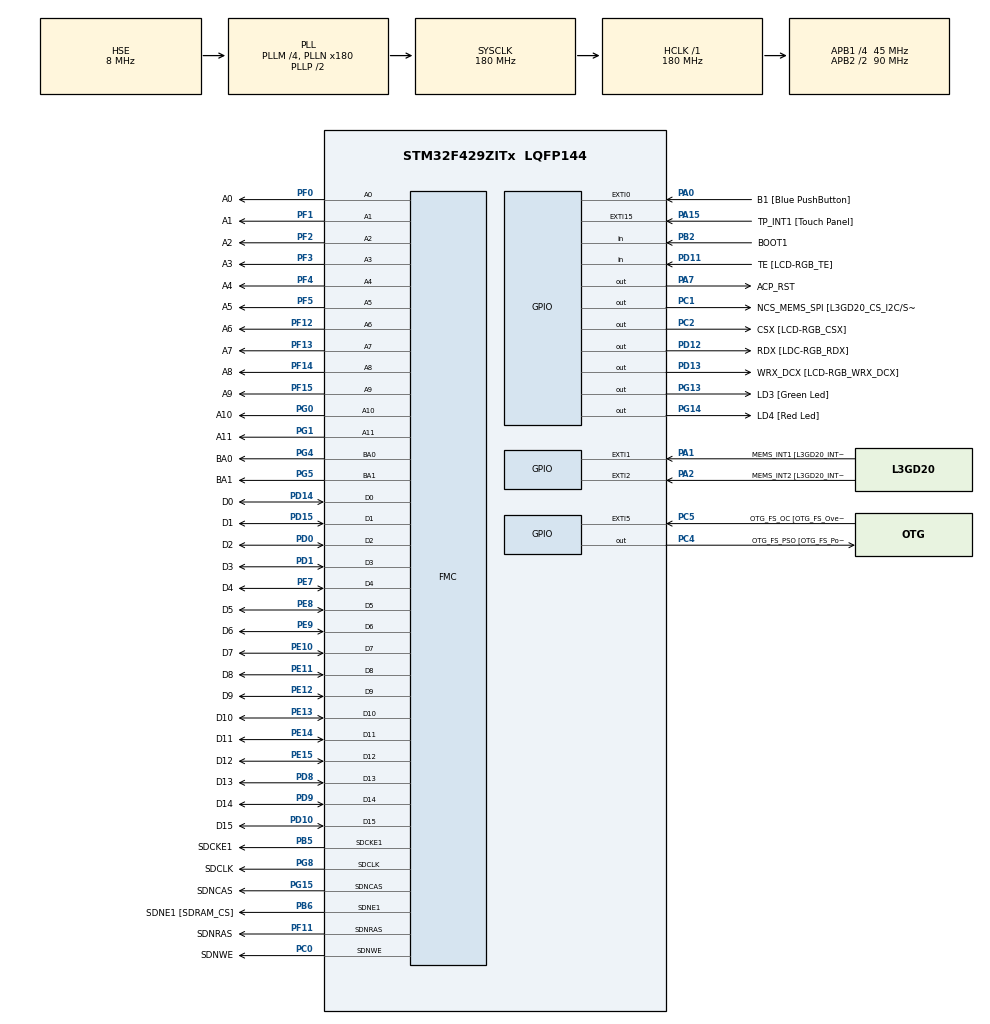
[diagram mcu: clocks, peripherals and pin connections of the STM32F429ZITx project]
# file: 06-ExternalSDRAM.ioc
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FMC.CASLatency1=FMC_SDRAM_CAS_LATENCY_3
FMC.ExitSelfRefreshDelay1=7
FMC.LoadToActiveDelay1=2
FMC.RCDDelay1=2
FMC.RPDelay1=2
FMC.RPDelay2=2
FMC.ReadBurst1=FMC_SDRAM_RBURST_ENABLE
FMC.ReadBurst2=FMC_SDRAM_RBURST_ENABLE
FMC.RowCycleDelay1=7
FMC.RowCycleDelay2=7
FMC.SDClockPeriod1=FMC_SDRAM_CLOCK_PERIOD_3
FMC.SDClockPeriod2=FMC_SDRAM_CLOCK_PERIOD_3
FMC.SelfRefreshTime1=4
FMC.WriteRecoveryTime1=3
Mcu.Family=STM32F4
Mcu.Name=STM32F429ZITx
Mcu.Package=LQFP144
NVIC.PriorityGroup=NVIC_PRIORITYGROUP_0
PA0/WKUP.GPIO_Label=B1 [Blue PushButton]
PA0/WKUP.GPIO_ModeDefaultEXTI=GPIO_MODE_EVT_RISING
PA0/WKUP.GPIO_PuPd=GPIO_NOPULL
PA0/WKUP.Signal=GPXTI0
PA1.GPIO_Label=MEMS_INT1 [L3GD20_INT1]
PA1.GPIO_ModeDefaultEXTI=GPIO_MODE_EVT_RISING
PA1.GPIO_PuPd=GPIO_NOPULL
PA1.Signal=GPXTI1
PA10.GPIO_Label=STLINK_TX [STM32F103CBT6_PA2]
PA10.Signal=USART1_RX
PA11.GPIO_Label=R4
PA11.GPIO_Mode=GPIO_MODE_AF_PP
PA11.GPIO_PuPd=GPIO_NOPULL
PA11.GPIO_Speed=GPIO_SPEED_FREQ_LOW
PA11.Signal=LTDC_R4
PA12.GPIO_Label=R5
PA12.GPIO_Mode=GPIO_MODE_AF_PP
PA12.GPIO_PuPd=GPIO_NOPULL
PA12.GPIO_Speed=GPIO_SPEED_FREQ_LOW
PA12.Signal=LTDC_R5
PA13.GPIO_Label=SWDIO
PA13.Mode=Serial_Wire
PA13.Signal=SYS_JTMS-SWDIO
PA14.GPIO_Label=SWCLK
PA14.Mode=Serial_Wire
PA14.Signal=SYS_JTCK-SWCLK
PA15.GPIO_Label=TP_INT1 [Touch Panel]
PA15.GPIO_ModeDefaultEXTI=GPIO_MODE_EVT_RISING
PA15.GPIO_PuPd=GPIO_NOPULL
PA15.Signal=GPXTI15
PA2.GPIO_Label=MEMS_INT2 [L3GD20_INT2]
PA2.GPIO_ModeDefaultEXTI=GPIO_MODE_EVT_RISING
PA2.GPIO_PuPd=GPIO_NOPULL
PA2.Signal=GPXTI2
PA3.GPIO_Label=B5
PA3.GPIO_Mode=GPIO_MODE_AF_PP
PA3.GPIO_PuPd=GPIO_NOPULL
PA3.GPIO_Speed=GPIO_SPEED_FREQ_LOW
PA3.Signal=LTDC_B5
PA4.GPIO_Label=VSYNC
PA4.GPIO_Mode=GPIO_MODE_AF_PP
PA4.GPIO_PuPd=GPIO_NOPULL
PA4.GPIO_Speed=GPIO_SPEED_FREQ_LOW
PA4.Signal=LTDC_VSYNC
PA6.GPIO_Label=G2
PA6.GPIO_Mode=GPIO_MODE_AF_PP
PA6.GPIO_PuPd=GPIO_NOPULL
PA6.GPIO_Speed=GPIO_SPEED_FREQ_LOW
PA6.Signal=LTDC_G2
PA7.GPIO_Label=ACP_RST
PA7.GPIO_Mode=GPIO_MODE_OUTPUT_PP
PA7.GPIO_PuPd=GPIO_NOPULL
PA7.GPIO_Speed=GPIO_SPEED_FREQ_LOW
PA7.Signal=GPIO_Output
PA8.GPIO_Label=I2C3_SCL [ACP/RF_SCL]
PA8.GPIO_Mode=GPIO_MODE_AF_OD
PA8.GPIO_PuPd=GPIO_NOPULL
PA8.GPIO_Speed=GPIO_SPEED_FREQ_LOW
PA8.Signal=I2C3_SCL
PA9.GPIO_Label=STLINK_RX [STM32F103CBT6_PA3]
PA9.Signal=USART1_TX
PB0.GPIO_Label=R3
PB0.GPIO_Mode=GPIO_MODE_AF_PP
PB0.GPIO_PuPd=GPIO_NOPULL
PB0.GPIO_Speed=GPIO_SPEED_FREQ_LOW
PB0.Signal=LTDC_R3
PB1.GPIO_Label=R6
PB1.GPIO_Mode=GPIO_MODE_AF_PP
PB1.GPIO_PuPd=GPIO_NOPULL
PB1.GPIO_Speed=GPIO_SPEED_FREQ_LOW
PB1.Signal=LTDC_R6
PB10.GPIO_Label=G4
PB10.GPIO_Mode=GPIO_MODE_AF_PP
PB10.GPIO_PuPd=GPIO_NOPULL
PB10.GPIO_Speed=GPIO_SPEED_FREQ_LOW
PB10.Signal=LTDC_G4
PB11.GPIO_Label=G5
PB11.GPIO_Mode=GPIO_MODE_AF_PP
PB11.GPIO_PuPd=GPIO_NOPULL
PB11.GPIO_Speed=GPIO_SPEED_FREQ_LOW
PB11.Signal=LTDC_G5
PB12.GPIO_Label=OTG_HS_ID
PB12.GPIO_Mode=GPIO_MODE_AF_PP
PB12.GPIO_PuPd=GPIO_NOPULL
PB12.GPIO_Speed=GPIO_SPEED_FREQ_LOW
PB12.Signal=USB_OTG_HS_ID
PB13.GPIO_Label=VBUS_HS
PB13.GPIO_Mode=GPIO_MODE_INPUT
PB13.GPIO_PuPd=GPIO_NOPULL
PB13.Signal=USB_OTG_HS_VBUS
PB14.GPIO_Label=OTG_HS_DM
PB14.GPIO_Mode=GPIO_MODE_AF_PP
PB14.GPIO_PuPd=GPIO_NOPULL
PB14.GPIO_Speed=GPIO_SPEED_FREQ_LOW
PB14.Signal=USB_OTG_HS_DM
PB15.GPIO_Label=OTG_HS_DP
PB15.GPIO_Mode=GPIO_MODE_AF_PP
PB15.GPIO_PuPd=GPIO_NOPULL
PB15.GPIO_Speed=GPIO_SPEED_FREQ_LOW
PB15.Signal=USB_OTG_HS_DP
PB2/BOOT1.GPIO_Label=BOOT1
PB2/BOOT1.GPIO_Mode=GPIO_MODE_INPUT
PB2/BOOT1.GPIO_PuPd=GPIO_NOPULL
PB2/BOOT1.Signal=GPIO_Input
PB5.GPIO_Label=SDCKE1
PB5.GPIO_Mode=GPIO_MODE_AF_PP
PB5.GPIO_PuPd=GPIO_NOPULL
PB5.GPIO_Speed=GPIO_SPEED_FREQ_VERY_HIGH
PB5.Mode=SdramChipSelect2_1
PB5.Signal=FMC_SDCKE1
PB6.GPIO_Label=SDNE1 [SDRAM_CS]
PB6.GPIO_Mode=GPIO_MODE_AF_PP
PB6.GPIO_PuPd=GPIO_NOPULL
PB6.GPIO_Speed=GPIO_SPEED_FREQ_VERY_HIGH
PB6.Mode=SdramChipSelect2_1
PB6.Signal=FMC_SDNE1
PB8.GPIO_Label=B6
PB8.GPIO_Mode=GPIO_MODE_AF_PP
PB8.GPIO_PuPd=GPIO_NOPULL
PB8.GPIO_Speed=GPIO_SPEED_FREQ_LOW
PB8.Signal=LTDC_B6
PB9.GPIO_Label=B7
PB9.GPIO_Mode=GPIO_MODE_AF_PP
PB9.GPIO_PuPd=GPIO_NOPULL
PB9.GPIO_Speed=GPIO_SPEED_FREQ_LOW
PB9.Signal=LTDC_B7
PC0.GPIO_Label=SDNWE
PC0.GPIO_Mode=GPIO_MODE_AF_PP
PC0.GPIO_PuPd=GPIO_NOPULL
PC0.GPIO_Speed=GPIO_SPEED_FREQ_VERY_HIGH
PC0.Signal=FMC_SDNWE
PC1.GPIO_Label=NCS_MEMS_SPI [L3GD20_CS_I2C/SPI]
PC1.GPIO_Mode=GPIO_MODE_OUTPUT_PP
PC1.GPIO_PuPd=GPIO_NOPULL
PC1.GPIO_Speed=GPIO_SPEED_FREQ_LOW
PC1.Signal=GPIO_Output
PC10.GPIO_Label=R2
PC10.GPIO_Mode=GPIO_MODE_AF_PP
PC10.GPIO_PuPd=GPIO_NOPULL
PC10.GPIO_Speed=GPIO_SPEED_FREQ_LOW
PC10.Signal=LTDC_R2
PC14/OSC32_IN.GPIO_Label=PC14-OSC32_IN
PC14/OSC32_IN.Signal=RCC_OSC32_IN
PC15/OSC32_OUT.GPIO_Label=PC15-OSC32_OUT
PC15/OSC32_OUT.Signal=RCC_OSC32_OUT
PC2.GPIO_Label=CSX [LCD-RGB_CSX]
PC2.GPIO_Mode=GPIO_MODE_OUTPUT_PP
PC2.GPIO_PuPd=GPIO_NOPULL
PC2.GPIO_Speed=GPIO_SPEED_FREQ_LOW
PC2.Signal=GPIO_Output
PC4.GPIO_Label=OTG_FS_PSO [OTG_FS_PowerSwitchOn]
PC4.GPIO_Mode=GPIO_MODE_OUTPUT_PP
PC4.GPIO_PuPd=GPIO_NOPULL
PC4.GPIO_Speed=GPIO_SPEED_FREQ_LOW
PC4.Signal=GPIO_Output
PC5.GPIO_Label=OTG_FS_OC [OTG_FS_OverCurrent]
PC5.GPIO_ModeDefaultEXTI=GPIO_MODE_EVT_RISING
PC5.Signal=GPXTI5
PC6.GPIO_Label=HSYNC
PC6.GPIO_Mode=GPIO_MODE_AF_PP
PC6.GPIO_PuPd=GPIO_NOPULL
PC6.GPIO_Speed=GPIO_SPEED_FREQ_LOW
PC6.Signal=LTDC_HSYNC
PC7.GPIO_Label=G6
PC7.GPIO_Mode=GPIO_MODE_AF_PP
PC7.GPIO_PuPd=GPIO_NOPULL
PC7.GPIO_Speed=GPIO_SPEED_FREQ_LOW
PC7.Signal=LTDC_G6
PC9.GPIO_Label=I2C3_SDA [ACP/RF_SDA]
PC9.GPIO_Mode=GPIO_MODE_AF_OD
PC9.GPIO_PuPd=GPIO_NOPULL
PC9.GPIO_Speed=GPIO_SPEED_FREQ_LOW
PC9.Signal=I2C3_SDA
PD0.GPIO_Label=D2
PD0.GPIO_Mode=GPIO_MODE_AF_PP
PD0.GPIO_PuPd=GPIO_NOPULL
PD0.GPIO_Speed=GPIO_SPEED_FREQ_VERY_HIGH
PD0.Signal=FMC_D2_DA2
PD1.GPIO_Label=D3
PD1.GPIO_Mode=GPIO_MODE_AF_PP
PD1.GPIO_PuPd=GPIO_NOPULL
PD1.GPIO_Speed=GPIO_SPEED_FREQ_VERY_HIGH
PD1.Signal=FMC_D3_DA3
PD10.GPIO_Label=D15
PD10.GPIO_Mode=GPIO_MODE_AF_PP
PD10.GPIO_PuPd=GPIO_NOPULL
PD10.GPIO_Speed=GPIO_SPEED_FREQ_VERY_HIGH
PD10.Signal=FMC_D15_DA15
PD11.GPIO_Label=TE [LCD-RGB_TE]
PD11.GPIO_Mode=GPIO_MODE_INPUT
PD11.GPIO_PuPd=GPIO_NOPULL
PD11.Signal=GPIO_Input
PD12.GPIO_Label=RDX [LDC-RGB_RDX]
PD12.GPIO_Mode=GPIO_MODE_OUTPUT_PP
PD12.GPIO_PuPd=GPIO_NOPULL
PD12.GPIO_Speed=GPIO_SPEED_FREQ_LOW
PD12.Signal=GPIO_Output
PD13.GPIO_Label=WRX_DCX [LCD-RGB_WRX_DCX]
PD13.GPIO_Mode=GPIO_MODE_OUTPUT_PP
PD13.GPIO_PuPd=GPIO_NOPULL
PD13.GPIO_Speed=GPIO_SPEED_FREQ_LOW
PD13.Signal=GPIO_Output
PD14.GPIO_Label=D0
PD14.GPIO_Mode=GPIO_MODE_AF_PP
PD14.GPIO_PuPd=GPIO_NOPULL
PD14.GPIO_Speed=GPIO_SPEED_FREQ_VERY_HIGH
PD14.Signal=FMC_D0_DA0
PD15.GPIO_Label=D1
PD15.GPIO_Mode=GPIO_MODE_AF_PP
PD15.GPIO_PuPd=GPIO_NOPULL
PD15.GPIO_Speed=GPIO_SPEED_FREQ_VERY_HIGH
PD15.Signal=FMC_D1_DA1
PD3.GPIO_Label=G7
PD3.GPIO_Mode=GPIO_MODE_AF_PP
PD3.GPIO_PuPd=GPIO_NOPULL
PD3.GPIO_Speed=GPIO_SPEED_FREQ_LOW
PD3.Signal=LTDC_G7
PD6.GPIO_Label=B2
PD6.GPIO_Mode=GPIO_MODE_AF_PP
PD6.GPIO_PuPd=GPIO_NOPULL
PD6.GPIO_Speed=GPIO_SPEED_FREQ_LOW
PD6.Signal=LTDC_B2
PD8.GPIO_Label=D13
PD8.GPIO_Mode=GPIO_MODE_AF_PP
PD8.GPIO_PuPd=GPIO_NOPULL
PD8.GPIO_Speed=GPIO_SPEED_FREQ_VERY_HIGH
PD8.Signal=FMC_D13_DA13
PD9.GPIO_Label=D14
PD9.GPIO_Mode=GPIO_MODE_AF_PP
PD9.GPIO_PuPd=GPIO_NOPULL
PD9.GPIO_Speed=GPIO_SPEED_FREQ_VERY_HIGH
PD9.Signal=FMC_D14_DA14
PE0.GPIO_Label=NBL0 [SDRAM_LDQM]
PE0.GPIO_Mode=GPIO_MODE_AF_PP
PE0.GPIO_PuPd=GPIO_NOPULL
PE0.GPIO_Speed=GPIO_SPEED_FREQ_VERY_HIGH
PE0.Signal=FMC_NBL0
PE1.GPIO_Label=NBL1 [SDRAM_UDQM]
PE1.GPIO_Mode=GPIO_MODE_AF_PP
PE1.GPIO_PuPd=GPIO_NOPULL
PE1.GPIO_Speed=GPIO_SPEED_FREQ_VERY_HIGH
PE1.Signal=FMC_NBL1
PE10.GPIO_Label=D7
PE10.GPIO_Mode=GPIO_MODE_AF_PP
PE10.GPIO_PuPd=GPIO_NOPULL
PE10.GPIO_Speed=GPIO_SPEED_FREQ_VERY_HIGH
PE10.Signal=FMC_D7_DA7
PE11.GPIO_Label=D8
PE11.GPIO_Mode=GPIO_MODE_AF_PP
PE11.GPIO_PuPd=GPIO_NOPULL
PE11.GPIO_Speed=GPIO_SPEED_FREQ_VERY_HIGH
PE11.Signal=FMC_D8_DA8
PE12.GPIO_Label=D9
PE12.GPIO_Mode=GPIO_MODE_AF_PP
PE12.GPIO_PuPd=GPIO_NOPULL
PE12.GPIO_Speed=GPIO_SPEED_FREQ_VERY_HIGH
PE12.Signal=FMC_D9_DA9
PE13.GPIO_Label=D10
PE13.GPIO_Mode=GPIO_MODE_AF_PP
PE13.GPIO_PuPd=GPIO_NOPULL
PE13.GPIO_Speed=GPIO_SPEED_FREQ_VERY_HIGH
PE13.Signal=FMC_D10_DA10
PE14.GPIO_Label=D11
PE14.GPIO_Mode=GPIO_MODE_AF_PP
PE14.GPIO_PuPd=GPIO_NOPULL
PE14.GPIO_Speed=GPIO_SPEED_FREQ_VERY_HIGH
PE14.Signal=FMC_D11_DA11
PE15.GPIO_Label=D12
PE15.GPIO_Mode=GPIO_MODE_AF_PP
PE15.GPIO_PuPd=GPIO_NOPULL
PE15.GPIO_Speed=GPIO_SPEED_FREQ_VERY_HIGH
PE15.Signal=FMC_D12_DA12
PE7.GPIO_Label=D4
PE7.GPIO_Mode=GPIO_MODE_AF_PP
PE7.GPIO_PuPd=GPIO_NOPULL
PE7.GPIO_Speed=GPIO_SPEED_FREQ_VERY_HIGH
PE7.Signal=FMC_D4_DA4
PE8.GPIO_Label=D5
PE8.GPIO_Mode=GPIO_MODE_AF_PP
PE8.GPIO_PuPd=GPIO_NOPULL
PE8.GPIO_Speed=GPIO_SPEED_FREQ_VERY_HIGH
PE8.Signal=FMC_D5_DA5
PE9.GPIO_Label=D6
PE9.GPIO_Mode=GPIO_MODE_AF_PP
PE9.GPIO_PuPd=GPIO_NOPULL
PE9.GPIO_Speed=GPIO_SPEED_FREQ_VERY_HIGH
PE9.Signal=FMC_D6_DA6
PF0.GPIO_Label=A0
PF0.GPIO_Mode=GPIO_MODE_AF_PP
PF0.GPIO_PuPd=GPIO_NOPULL
PF0.GPIO_Speed=GPIO_SPEED_FREQ_VERY_HIGH
PF0.Signal=FMC_A0
PF1.GPIO_Label=A1
PF1.GPIO_Mode=GPIO_MODE_AF_PP
PF1.GPIO_PuPd=GPIO_NOPULL
PF1.GPIO_Speed=GPIO_SPEED_FREQ_VERY_HIGH
PF1.Signal=FMC_A1
PF10.GPIO_Label=ENABLE [LCD-RGB_ENABLE]
PF10.GPIO_Mode=GPIO_MODE_AF_PP
PF10.GPIO_PuPd=GPIO_NOPULL
PF10.GPIO_Speed=GPIO_SPEED_FREQ_LOW
PF10.Signal=LTDC_DE
PF11.GPIO_Label=SDNRAS
PF11.GPIO_Mode=GPIO_MODE_AF_PP
PF11.GPIO_PuPd=GPIO_NOPULL
PF11.GPIO_Speed=GPIO_SPEED_FREQ_VERY_HIGH
PF11.Signal=FMC_SDNRAS
PF12.GPIO_Label=A6
PF12.GPIO_Mode=GPIO_MODE_AF_PP
PF12.GPIO_PuPd=GPIO_NOPULL
PF12.GPIO_Speed=GPIO_SPEED_FREQ_VERY_HIGH
PF12.Signal=FMC_A6
PF13.GPIO_Label=A7
PF13.GPIO_Mode=GPIO_MODE_AF_PP
PF13.GPIO_PuPd=GPIO_NOPULL
PF13.GPIO_Speed=GPIO_SPEED_FREQ_VERY_HIGH
PF13.Signal=FMC_A7
PF14.GPIO_Label=A8
PF14.GPIO_Mode=GPIO_MODE_AF_PP
PF14.GPIO_PuPd=GPIO_NOPULL
PF14.GPIO_Speed=GPIO_SPEED_FREQ_VERY_HIGH
PF14.Signal=FMC_A8
PF15.GPIO_Label=A9
PF15.GPIO_Mode=GPIO_MODE_AF_PP
PF15.GPIO_PuPd=GPIO_NOPULL
PF15.GPIO_Speed=GPIO_SPEED_FREQ_VERY_HIGH
PF15.Signal=FMC_A9
PF2.GPIO_Label=A2
PF2.GPIO_Mode=GPIO_MODE_AF_PP
PF2.GPIO_PuPd=GPIO_NOPULL
PF2.GPIO_Speed=GPIO_SPEED_FREQ_VERY_HIGH
PF2.Signal=FMC_A2
PF3.GPIO_Label=A3
PF3.GPIO_Mode=GPIO_MODE_AF_PP
PF3.GPIO_PuPd=GPIO_NOPULL
PF3.GPIO_Speed=GPIO_SPEED_FREQ_VERY_HIGH
PF3.Signal=FMC_A3
PF4.GPIO_Label=A4
PF4.GPIO_Mode=GPIO_MODE_AF_PP
PF4.GPIO_PuPd=GPIO_NOPULL
PF4.GPIO_Speed=GPIO_SPEED_FREQ_VERY_HIGH
PF4.Signal=FMC_A4
PF5.GPIO_Label=A5
PF5.GPIO_Mode=GPIO_MODE_AF_PP
PF5.GPIO_PuPd=GPIO_NOPULL
PF5.GPIO_Speed=GPIO_SPEED_FREQ_VERY_HIGH
PF5.Signal=FMC_A5
PF7.GPIO_Label=SPI5_SCK [L3GD20_SCL/SPC]
PF7.GPIO_Mode=GPIO_MODE_AF_PP
PF7.GPIO_PuPd=GPIO_NOPULL
PF7.GPIO_Speed=GPIO_SPEED_FREQ_LOW
PF7.Signal=SPI5_SCK
PF8.GPIO_Label=SPI5_MISO [L3GD20_SDO]
PF8.GPIO_Mode=GPIO_MODE_AF_PP
PF8.GPIO_PuPd=GPIO_NOPULL
PF8.GPIO_Speed=GPIO_SPEED_FREQ_LOW
PF8.Signal=SPI5_MISO
PF9.GPIO_Label=SPI5_MOSI [L3GD20_SDA/SDI/SDO]
PF9.GPIO_Mode=GPIO_MODE_AF_PP
PF9.GPIO_PuPd=GPIO_NOPULL
PF9.GPIO_Speed=GPIO_SPEED_FREQ_LOW
PF9.Signal=SPI5_MOSI
PG0.GPIO_Label=A10
PG0.GPIO_Mode=GPIO_MODE_AF_PP
PG0.GPIO_PuPd=GPIO_NOPULL
PG0.GPIO_Speed=GPIO_SPEED_FREQ_VERY_HIGH
PG0.Signal=FMC_A10
PG1.GPIO_Label=A11
PG1.GPIO_Mode=GPIO_MODE_AF_PP
PG1.GPIO_PuPd=GPIO_NOPULL
PG1.GPIO_Speed=GPIO_SPEED_FREQ_VERY_HIGH
PG1.Signal=FMC_A11
PG10.GPIO_Label=G3
PG10.GPIO_Mode=GPIO_MODE_AF_PP
PG10.GPIO_PuPd=GPIO_NOPULL
PG10.GPIO_Speed=GPIO_SPEED_FREQ_LOW
PG10.Signal=LTDC_G3
PG11.GPIO_Label=B3
PG11.GPIO_Mode=GPIO_MODE_AF_PP
PG11.GPIO_PuPd=GPIO_NOPULL
PG11.GPIO_Speed=GPIO_SPEED_FREQ_LOW
PG11.Signal=LTDC_B3
PG12.GPIO_Label=B4
PG12.GPIO_Mode=GPIO_MODE_AF_PP
PG12.GPIO_PuPd=GPIO_NOPULL
PG12.GPIO_Speed=GPIO_SPEED_FREQ_LOW
PG12.Signal=LTDC_B4
PG13.GPIO_Label=LD3 [Green Led]
PG13.GPIO_Mode=GPIO_MODE_OUTPUT_PP
PG13.GPIO_PuPd=GPIO_NOPULL
PG13.GPIO_Speed=GPIO_SPEED_FREQ_LOW
PG13.Signal=GPIO_Output
PG14.GPIO_Label=LD4 [Red Led]
PG14.GPIO_Mode=GPIO_MODE_OUTPUT_PP
PG14.GPIO_PuPd=GPIO_NOPULL
PG14.GPIO_Speed=GPIO_SPEED_FREQ_LOW
PG14.Signal=GPIO_Output
PG15.GPIO_Label=SDNCAS
PG15.GPIO_Mode=GPIO_MODE_AF_PP
PG15.GPIO_PuPd=GPIO_NOPULL
PG15.GPIO_Speed=GPIO_SPEED_FREQ_VERY_HIGH
PG15.Signal=FMC_SDNCAS
PG4.GPIO_Label=BA0
PG4.GPIO_Mode=GPIO_MODE_AF_PP
PG4.GPIO_PuPd=GPIO_NOPULL
PG4.GPIO_Speed=GPIO_SPEED_FREQ_VERY_HIGH
PG4.Signal=FMC_A14_BA0
PG5.GPIO_Label=BA1
PG5.GPIO_Mode=GPIO_MODE_AF_PP
PG5.GPIO_PuPd=GPIO_NOPULL
PG5.GPIO_Speed=GPIO_SPEED_FREQ_VERY_HIGH
PG5.Signal=FMC_A15_BA1
PG6.GPIO_Label=R7
PG6.GPIO_Mode=GPIO_MODE_AF_PP
PG6.GPIO_PuPd=GPIO_NOPULL
PG6.GPIO_Speed=GPIO_SPEED_FREQ_LOW
PG6.Signal=LTDC_R7
PG7.GPIO_Label=DOTCLK [LCT-RGB_DOTCLK]
PG7.GPIO_Mode=GPIO_MODE_AF_PP
PG7.GPIO_PuPd=GPIO_NOPULL
PG7.GPIO_Speed=GPIO_SPEED_FREQ_LOW
PG7.Signal=LTDC_CLK
PG8.GPIO_Label=SDCLK
PG8.GPIO_Mode=GPIO_MODE_AF_PP
PG8.GPIO_PuPd=GPIO_NOPULL
PG8.GPIO_Speed=GPIO_SPEED_FREQ_VERY_HIGH
PG8.Signal=FMC_SDCLK
PH0/OSC_IN.GPIO_Label=PH0-OSC_IN
PH0/OSC_IN.Mode=HSE-External-Oscillator
PH0/OSC_IN.Signal=RCC_OSC_IN
PH1/OSC_OUT.GPIO_Label=PH1-OSC_OUT
PH1/OSC_OUT.Mode=HSE-External-Oscillator
PH1/OSC_OUT.Signal=RCC_OSC_OUT
ProjectManager.HeapSize=0x200
ProjectManager.StackSize=0x400
ProjectManager.TargetToolchain=STM32CubeIDE
RCC.48MHZClocksFreq_Value=51428571.428571425
RCC.AHBFreq_Value=180000000
RCC.APB1CLKDivider=RCC_HCLK_DIV4
RCC.APB1Freq_Value=45000000
RCC.APB1TimFreq_Value=90000000
RCC.APB2CLKDivider=RCC_HCLK_DIV2
RCC.APB2Freq_Value=90000000
RCC.APB2TimFreq_Value=180000000
RCC.CortexFreq_Value=180000000
RCC.HCLKFreq_Value=180000000
RCC.HSE_VALUE=8000000
RCC.HSI_VALUE=16000000
RCC.LSE_VALUE=32768
RCC.PLLM=4
RCC.PLLN=180
RCC.PLLQ=7
RCC.PLLSourceVirtual=RCC_PLLSOURCE_HSE
RCC.SYSCLKFreq_VALUE=180000000
RCC.SYSCLKSource=RCC_SYSCLKSOURCE_PLLCLK
RCC.VCOOutputFreq_Value=360000000
SH.FMC_A0.0=FMC_A0,12b-sda1
SH.FMC_A1.0=FMC_A1,12b-sda1
SH.FMC_A10.0=FMC_A10,12b-sda1
SH.FMC_A11.0=FMC_A11,12b-sda1
SH.FMC_A14_BA0.0=FMC_BA0,FourSdramBanks1
SH.FMC_A15_BA1.0=FMC_BA1,FourSdramBanks1
SH.FMC_A2.0=FMC_A2,12b-sda1
SH.FMC_A3.0=FMC_A3,12b-sda1
SH.FMC_A4.0=FMC_A4,12b-sda1
SH.FMC_A5.0=FMC_A5,12b-sda1
SH.FMC_A6.0=FMC_A6,12b-sda1
SH.FMC_A7.0=FMC_A7,12b-sda1
SH.FMC_A8.0=FMC_A8,12b-sda1
SH.FMC_A9.0=FMC_A9,12b-sda1
SH.FMC_D0_DA0.0=FMC_D0,sd-16b-d1
SH.FMC_D10_DA10.0=FMC_D10,sd-16b-d1
SH.FMC_D11_DA11.0=FMC_D11,sd-16b-d1
SH.FMC_D12_DA12.0=FMC_D12,sd-16b-d1
SH.FMC_D13_DA13.0=FMC_D13,sd-16b-d1
SH.FMC_D14_DA14.0=FMC_D14,sd-16b-d1
SH.FMC_D15_DA15.0=FMC_D15,sd-16b-d1
SH.FMC_D1_DA1.0=FMC_D1,sd-16b-d1
SH.FMC_D2_DA2.0=FMC_D2,sd-16b-d1
SH.FMC_D3_DA3.0=FMC_D3,sd-16b-d1
SH.FMC_D4_DA4.0=FMC_D4,sd-16b-d1
SH.FMC_D5_DA5.0=FMC_D5,sd-16b-d1
SH.FMC_D6_DA6.0=FMC_D6,sd-16b-d1
SH.FMC_D7_DA7.0=FMC_D7,sd-16b-d1
SH.FMC_D8_DA8.0=FMC_D8,sd-16b-d1
SH.FMC_D9_DA9.0=FMC_D9,sd-16b-d1
SH.FMC_NBL0.0=FMC_NBL0
SH.FMC_NBL1.0=FMC_NBL1
SH.FMC_SDCLK.0=FMC_SDCLK,12b-sda1
SH.FMC_SDNCAS.0=FMC_SDNCAS,12b-sda1
SH.FMC_SDNRAS.0=FMC_SDNRAS,12b-sda1
SH.FMC_SDNWE.0=FMC_SDNWE,12b-sda1
board=STM32F429I-DISC1

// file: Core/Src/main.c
/* USER CODE BEGIN Header */
/**
  ******************************************************************************
  * @file           : main.c
  * @brief          : Main program body
  ******************************************************************************
  * @attention
  *
  * Copyright (c) 2022 STMicroelectronics.
  * All rights reserved.
  *
  * This software is licensed under terms that can be found in the LICENSE file
  * in the root directory of this software component.
  * If no LICENSE file comes with this software, it is provided AS-IS.
  *
  ******************************************************************************
  */
/* USER CODE END Header */
#include "main.h"

/* USER CODE BEGIN PM */
// #define BUFFER_SIZE         ((uint32_t)0x0100)
#define BUFFER_SIZE         ((uint32_t)10)
#define WRITE_READ_ADDR     ((uint32_t)0x0800)
#define REFRESH_COUNT       ((uint32_t)0x056A)   /* SDRAM refresh counter (90MHz SDRAM clock) */
/* USER CODE END PM */

SDRAM_HandleTypeDef hsdram1;

/* USER CODE BEGIN PV */
FMC_SDRAM_CommandTypeDef command;

// Read and Write Buffers
uint32_t aTxBuffer[BUFFER_SIZE];
uint32_t aRxBuffer[BUFFER_SIZE];
/* USER CODE END PV */

void SystemClock_Config(void);
static void MX_GPIO_Init(void);
static void MX_FMC_Init(void);
/* USER CODE BEGIN PFP */
static void SDRAM_Initialization_Sequence(SDRAM_HandleTypeDef *hsdram, FMC_SDRAM_CommandTypeDef *Command);
static void Fill_Buffer(uint32_t *pBuffer, uint32_t uwBufferLenght, uint32_t uwOffset);
/* USER CODE END PFP */

int main(void)
{
  /* USER CODE BEGIN 1 */
  uint32_t idx = 0u;
  /* USER CODE END 1 */

  /* MCU Configuration--------------------------------------------------------*/

  /* Reset of all peripherals, Initializes the Flash interface and the Systick. */
  HAL_Init();

  /* Configure the system clock */
  SystemClock_Config();

  /* Initialize all configured peripherals */
  MX_GPIO_Init();
  MX_FMC_Init();
  /* USER CODE BEGIN 2 */
  // Program the SDRAM external device
  SDRAM_Initialization_Sequence(&hsdram1, &command);

  // SDRAM Memory Read/Write Access
  // Fill the buffer to write in aTxBuffer
  Fill_Buffer(aTxBuffer, BUFFER_SIZE, 0xA244250F );

  // Write the data to SDRAM memory
  for( idx=0u; idx<BUFFER_SIZE; idx++ )
  {
    *(__IO uint32_t*)(SDRAM_BANK_ADDR + WRITE_READ_ADDR + 4*idx) = aTxBuffer[idx];
  }

  // Read back data from the SDRAM memory
  for( idx=0; idx<BUFFER_SIZE; idx++ )
  {
    aRxBuffer[idx] = *(__IO uint32_t*)(SDRAM_BANK_ADDR + WRITE_READ_ADDR + 4*idx);
  }

//  // Another method
//  Fill_Buffer(aTxBuffer, BUFFER_SIZE, 0x01);
//  // Copying data to SDRAM
//  memcpy( (uint32_t*)SDRAM_BANK_ADDR, aTxBuffer, BUFFER_SIZE );
//  // Reading data from SDRAM
//  memcpy( aRxBuffer, (uint32_t*)SDRAM_BANK_ADDR, BUFFER_SIZE );

  /* USER CODE END 2 */

  /* Infinite loop */
  while (1)
  {

  }
}

void SystemClock_Config(void)
{
  RCC_OscInitTypeDef RCC_OscInitStruct = {0};
  RCC_ClkInitTypeDef RCC_ClkInitStruct = {0};

  /** Configure the main internal regulator output voltage
  */
  __HAL_RCC_PWR_CLK_ENABLE();
  __HAL_PWR_VOLTAGESCALING_CONFIG(PWR_REGULATOR_VOLTAGE_SCALE1);

  /** Initializes the RCC Oscillators according to the specified parameters
  * in the RCC_OscInitTypeDef structure.
  */
  RCC_OscInitStruct.OscillatorType = RCC_OSCILLATORTYPE_HSE;
  RCC_OscInitStruct.HSEState = RCC_HSE_ON;
  RCC_OscInitStruct.PLL.PLLState = RCC_PLL_ON;
  RCC_OscInitStruct.PLL.PLLSource = RCC_PLLSOURCE_HSE;
  RCC_OscInitStruct.PLL.PLLM = 4;
  RCC_OscInitStruct.PLL.PLLN = 180;
  RCC_OscInitStruct.PLL.PLLP = RCC_PLLP_DIV2;
  RCC_OscInitStruct.PLL.PLLQ = 7;
  if (HAL_RCC_OscConfig(&RCC_OscInitStruct) != HAL_OK)
  {
    Error_Handler();
  }

  /** Activate the Over-Drive mode
  */
  if (HAL_PWREx_EnableOverDrive() != HAL_OK)
  {
    Error_Handler();
  }

  /** Initializes the CPU, AHB and APB buses clocks
  */
  RCC_ClkInitStruct.ClockType = RCC_CLOCKTYPE_HCLK|RCC_CLOCKTYPE_SYSCLK
                              |RCC_CLOCKTYPE_PCLK1|RCC_CLOCKTYPE_PCLK2;
  RCC_ClkInitStruct.SYSCLKSource = RCC_SYSCLKSOURCE_PLLCLK;
  RCC_ClkInitStruct.AHBCLKDivider = RCC_SYSCLK_DIV1;
  RCC_ClkInitStruct.APB1CLKDivider = RCC_HCLK_DIV4;
  RCC_ClkInitStruct.APB2CLKDivider = RCC_HCLK_DIV2;

  if (HAL_RCC_ClockConfig(&RCC_ClkInitStruct, FLASH_LATENCY_5) != HAL_OK)
  {
    Error_Handler();
  }
}

/* FMC initialization function */
static void MX_FMC_Init(void)
{

  FMC_SDRAM_TimingTypeDef SdramTiming = {0};

  /** Perform the SDRAM1 memory initialization sequence
  */
  hsdram1.Instance = FMC_SDRAM_DEVICE;
  /* hsdram1.Init */
  hsdram1.Init.SDBank = FMC_SDRAM_BANK2;
  hsdram1.Init.ColumnBitsNumber = FMC_SDRAM_COLUMN_BITS_NUM_8;
  hsdram1.Init.RowBitsNumber = FMC_SDRAM_ROW_BITS_NUM_12;
  hsdram1.Init.MemoryDataWidth = FMC_SDRAM_MEM_BUS_WIDTH_16;
  hsdram1.Init.InternalBankNumber = FMC_SDRAM_INTERN_BANKS_NUM_4;
  hsdram1.Init.CASLatency = FMC_SDRAM_CAS_LATENCY_3;
  hsdram1.Init.WriteProtection = FMC_SDRAM_WRITE_PROTECTION_DISABLE;
  hsdram1.Init.SDClockPeriod = FMC_SDRAM_CLOCK_PERIOD_3;
  hsdram1.Init.ReadBurst = FMC_SDRAM_RBURST_ENABLE;
  hsdram1.Init.ReadPipeDelay = FMC_SDRAM_RPIPE_DELAY_0;
  /* SdramTiming */
  SdramTiming.LoadToActiveDelay = 2;
  SdramTiming.ExitSelfRefreshDelay = 7;
  SdramTiming.SelfRefreshTime = 4;
  SdramTiming.RowCycleDelay = 7;
  SdramTiming.WriteRecoveryTime = 3;
  SdramTiming.RPDelay = 2;
  SdramTiming.RCDDelay = 2;

  if (HAL_SDRAM_Init(&hsdram1, &SdramTiming) != HAL_OK)
  {
    Error_Handler( );
  }

}

static void MX_GPIO_Init(void)
{
  GPIO_InitTypeDef GPIO_InitStruct = {0};

  /* GPIO Ports Clock Enable */
  __HAL_RCC_GPIOC_CLK_ENABLE();
  __HAL_RCC_GPIOF_CLK_ENABLE();
  __HAL_RCC_GPIOH_CLK_ENABLE();
  __HAL_RCC_GPIOA_CLK_ENABLE();
  __HAL_RCC_GPIOB_CLK_ENABLE();
  __HAL_RCC_GPIOG_CLK_ENABLE();
  __HAL_RCC_GPIOE_CLK_ENABLE();
  __HAL_RCC_GPIOD_CLK_ENABLE();

  /*Configure GPIO pin Output Level */
  HAL_GPIO_WritePin(GPIOC, NCS_MEMS_SPI_Pin|CSX_Pin|OTG_FS_PSO_Pin, GPIO_PIN_RESET);

  /*Configure GPIO pin Output Level */
  HAL_GPIO_WritePin(ACP_RST_GPIO_Port, ACP_RST_Pin, GPIO_PIN_RESET);

  /*Configure GPIO pin Output Level */
  HAL_GPIO_WritePin(GPIOD, RDX_Pin|WRX_DCX_Pin, GPIO_PIN_RESET);

  /*Configure GPIO pin Output Level */
  HAL_GPIO_WritePin(GPIOG, LD3_Pin|LD4_Pin, GPIO_PIN_RESET);

  /*Configure GPIO pins : SPI5_SCK_Pin SPI5_MISO_Pin SPI5_MOSI_Pin */
  GPIO_InitStruct.Pin = SPI5_SCK_Pin|SPI5_MISO_Pin|SPI5_MOSI_Pin;
  GPIO_InitStruct.Mode = GPIO_MODE_AF_PP;
  GPIO_InitStruct.Pull = GPIO_NOPULL;
  GPIO_InitStruct.Speed = GPIO_SPEED_FREQ_LOW;
  GPIO_InitStruct.Alternate = GPIO_AF5_SPI5;
  HAL_GPIO_Init(GPIOF, &GPIO_InitStruct);

  /*Configure GPIO pin : ENABLE_Pin */
  GPIO_InitStruct.Pin = ENABLE_Pin;
  GPIO_InitStruct.Mode = GPIO_MODE_AF_PP;
  GPIO_InitStruct.Pull = GPIO_NOPULL;
  GPIO_InitStruct.Speed = GPIO_SPEED_FREQ_LOW;
  GPIO_InitStruct.Alternate = GPIO_AF14_LTDC;
  HAL_GPIO_Init(ENABLE_GPIO_Port, &GPIO_InitStruct);

  /*Configure GPIO pins : NCS_MEMS_SPI_Pin CSX_Pin OTG_FS_PSO_Pin */
  GPIO_InitStruct.Pin = NCS_MEMS_SPI_Pin|CSX_Pin|OTG_FS_PSO_Pin;
  GPIO_InitStruct.Mode = GPIO_MODE_OUTPUT_PP;
  GPIO_InitStruct.Pull = GPIO_NOPULL;
  GPIO_InitStruct.Speed = GPIO_SPEED_FREQ_LOW;
  HAL_GPIO_Init(GPIOC, &GPIO_InitStruct);

  /*Configure GPIO pins : B1_Pin MEMS_INT1_Pin MEMS_INT2_Pin TP_INT1_Pin */
  GPIO_InitStruct.Pin = B1_Pin|MEMS_INT1_Pin|MEMS_INT2_Pin|TP_INT1_Pin;
  GPIO_InitStruct.Mode = GPIO_MODE_EVT_RISING;
  GPIO_InitStruct.Pull = GPIO_NOPULL;
  HAL_GPIO_Init(GPIOA, &GPIO_InitStruct);

  /*Configure GPIO pins : B5_Pin VSYNC_Pin G2_Pin R4_Pin
                           R5_Pin */
  GPIO_InitStruct.Pin = B5_Pin|VSYNC_Pin|G2_Pin|R4_Pin
                          |R5_Pin;
  GPIO_InitStruct.Mode = GPIO_MODE_AF_PP;
  GPIO_InitStruct.Pull = GPIO_NOPULL;
  GPIO_InitStruct.Speed = GPIO_SPEED_FREQ_LOW;
  GPIO_InitStruct.Alternate = GPIO_AF14_LTDC;
  HAL_GPIO_Init(GPIOA, &GPIO_InitStruct);

  /*Configure GPIO pin : ACP_RST_Pin */
  GPIO_InitStruct.Pin = ACP_RST_Pin;
  GPIO_InitStruct.Mode = GPIO_MODE_OUTPUT_PP;
  GPIO_InitStruct.Pull = GPIO_NOPULL;
  GPIO_InitStruct.Speed = GPIO_SPEED_FREQ_LOW;
  HAL_GPIO_Init(ACP_RST_GPIO_Port, &GPIO_InitStruct);

  /*Configure GPIO pin : OTG_FS_OC_Pin */
  GPIO_InitStruct.Pin = OTG_FS_OC_Pin;
  GPIO_InitStruct.Mode = GPIO_MODE_EVT_RISING;
  GPIO_InitStruct.Pull = GPIO_NOPULL;
  HAL_GPIO_Init(OTG_FS_OC_GPIO_Port, &GPIO_InitStruct);

  /*Configure GPIO pins : R3_Pin R6_Pin */
  GPIO_InitStruct.Pin = R3_Pin|R6_Pin;
  GPIO_InitStruct.Mode = GPIO_MODE_AF_PP;
  GPIO_InitStruct.Pull = GPIO_NOPULL;
  GPIO_InitStruct.Speed = GPIO_SPEED_FREQ_LOW;
  GPIO_InitStruct.Alternate = GPIO_AF9_LTDC;
  HAL_GPIO_Init(GPIOB, &GPIO_InitStruct);

  /*Configure GPIO pin : BOOT1_Pin */
  GPIO_InitStruct.Pin = BOOT1_Pin;
  GPIO_InitStruct.Mode = GPIO_MODE_INPUT;
  GPIO_InitStruct.Pull = GPIO_NOPULL;
  HAL_GPIO_Init(BOOT1_GPIO_Port, &GPIO_InitStruct);

  /*Configure GPIO pins : G4_Pin G5_Pin B6_Pin B7_Pin */
  GPIO_InitStruct.Pin = G4_Pin|G5_Pin|B6_Pin|B7_Pin;
  GPIO_InitStruct.Mode = GPIO_MODE_AF_PP;
  GPIO_InitStruct.Pull = GPIO_NOPULL;
  GPIO_InitStruct.Speed = GPIO_SPEED_FREQ_LOW;
  GPIO_InitStruct.Alternate = GPIO_AF14_LTDC;
  HAL_GPIO_Init(GPIOB, &GPIO_InitStruct);

  /*Configure GPIO pins : OTG_HS_ID_Pin OTG_HS_DM_Pin OTG_HS_DP_Pin */
  GPIO_InitStruct.Pin = OTG_HS_ID_Pin|OTG_HS_DM_Pin|OTG_HS_DP_Pin;
  GPIO_InitStruct.Mode = GPIO_MODE_AF_PP;
  GPIO_InitStruct.Pull = GPIO_NOPULL;
  GPIO_InitStruct.Speed = GPIO_SPEED_FREQ_LOW;
  GPIO_InitStruct.Alternate = GPIO_AF12_OTG_HS_FS;
  HAL_GPIO_Init(GPIOB, &GPIO_InitStruct);

  /*Configure GPIO pin : VBUS_HS_Pin */
  GPIO_InitStruct.Pin = VBUS_HS_Pin;
  GPIO_InitStruct.Mode = GPIO_MODE_INPUT;
  GPIO_InitStruct.Pull = GPIO_NOPULL;
  HAL_GPIO_Init(VBUS_HS_GPIO_Port, &GPIO_InitStruct);

  /*Configure GPIO pin : TE_Pin */
  GPIO_InitStruct.Pin = TE_Pin;
  GPIO_InitStruct.Mode = GPIO_MODE_INPUT;
  GPIO_InitStruct.Pull = GPIO_NOPULL;
  HAL_GPIO_Init(TE_GPIO_Port, &GPIO_InitStruct);

  /*Configure GPIO pins : RDX_Pin WRX_DCX_Pin */
  GPIO_InitStruct.Pin = RDX_Pin|WRX_DCX_Pin;
  GPIO_InitStruct.Mode = GPIO_MODE_OUTPUT_PP;
  GPIO_InitStruct.Pull = GPIO_NOPULL;
  GPIO_InitStruct.Speed = GPIO_SPEED_FREQ_LOW;
  HAL_GPIO_Init(GPIOD, &GPIO_InitStruct);

  /*Configure GPIO pins : R7_Pin DOTCLK_Pin B3_Pin */
  GPIO_InitStruct.Pin = R7_Pin|DOTCLK_Pin|B3_Pin;
  GPIO_InitStruct.Mode = GPIO_MODE_AF_PP;
  GPIO_InitStruct.Pull = GPIO_NOPULL;
  GPIO_InitStruct.Speed = GPIO_SPEED_FREQ_LOW;
  GPIO_InitStruct.Alternate = GPIO_AF14_LTDC;
  HAL_GPIO_Init(GPIOG, &GPIO_InitStruct);

  /*Configure GPIO pins : HSYNC_Pin G6_Pin R2_Pin */
  GPIO_InitStruct.Pin = HSYNC_Pin|G6_Pin|R2_Pin;
  GPIO_InitStruct.Mode = GPIO_MODE_AF_PP;
  GPIO_InitStruct.Pull = GPIO_NOPULL;
  GPIO_InitStruct.Speed = GPIO_SPEED_FREQ_LOW;
  GPIO_InitStruct.Alternate = GPIO_AF14_LTDC;
  HAL_GPIO_Init(GPIOC, &GPIO_InitStruct);

  /*Configure GPIO pin : I2C3_SDA_Pin */
  GPIO_InitStruct.Pin = I2C3_SDA_Pin;
  GPIO_InitStruct.Mode = GPIO_MODE_AF_OD;
  GPIO_InitStruct.Pull = GPIO_NOPULL;
  GPIO_InitStruct.Speed = GPIO_SPEED_FREQ_LOW;
  GPIO_InitStruct.Alternate = GPIO_AF4_I2C3;
  HAL_GPIO_Init(I2C3_SDA_GPIO_Port, &GPIO_InitStruct);

  /*Configure GPIO pin : I2C3_SCL_Pin */
  GPIO_InitStruct.Pin = I2C3_SCL_Pin;
  GPIO_InitStruct.Mode = GPIO_MODE_AF_OD;
  GPIO_InitStruct.Pull = GPIO_NOPULL;
  GPIO_InitStruct.Speed = GPIO_SPEED_FREQ_LOW;
  GPIO_InitStruct.Alternate = GPIO_AF4_I2C3;
  HAL_GPIO_Init(I2C3_SCL_GPIO_Port, &GPIO_InitStruct);

  /*Configure GPIO pins : STLINK_RX_Pin STLINK_TX_Pin */
  GPIO_InitStruct.Pin = STLINK_RX_Pin|STLINK_TX_Pin;
  GPIO_InitStruct.Mode = GPIO_MODE_AF_PP;
  GPIO_InitStruct.Pull = GPIO_NOPULL;
  GPIO_InitStruct.Speed = GPIO_SPEED_FREQ_VERY_HIGH;
  GPIO_InitStruct.Alternate = GPIO_AF7_USART1;
  HAL_GPIO_Init(GPIOA, &GPIO_InitStruct);

  /*Configure GPIO pins : G7_Pin B2_Pin */
  GPIO_InitStruct.Pin = G7_Pin|B2_Pin;
  GPIO_InitStruct.Mode = GPIO_MODE_AF_PP;
  GPIO_InitStruct.Pull = GPIO_NOPULL;
  GPIO_InitStruct.Speed = GPIO_SPEED_FREQ_LOW;
  GPIO_InitStruct.Alternate = GPIO_AF14_LTDC;
  HAL_GPIO_Init(GPIOD, &GPIO_InitStruct);

  /*Configure GPIO pins : G3_Pin B4_Pin */
  GPIO_InitStruct.Pin = G3_Pin|B4_Pin;
  GPIO_InitStruct.Mode = GPIO_MODE_AF_PP;
  GPIO_InitStruct.Pull = GPIO_NOPULL;
  GPIO_InitStruct.Speed = GPIO_SPEED_FREQ_LOW;
  GPIO_InitStruct.Alternate = GPIO_AF9_LTDC;
  HAL_GPIO_Init(GPIOG, &GPIO_InitStruct);

  /*Configure GPIO pins : LD3_Pin LD4_Pin */
  GPIO_InitStruct.Pin = LD3_Pin|LD4_Pin;
  GPIO_InitStruct.Mode = GPIO_MODE_OUTPUT_PP;
  GPIO_InitStruct.Pull = GPIO_NOPULL;
  GPIO_InitStruct.Speed = GPIO_SPEED_FREQ_LOW;
  HAL_GPIO_Init(GPIOG, &GPIO_InitStruct);

}

/* USER CODE BEGIN 4 */
/**
  * @brief  Perform the SDRAM exernal memory inialization sequence
  * @param  hsdram: SDRAM handle
  * @param  Command: Pointer to SDRAM command structure
  * @retval None
  */
static void SDRAM_Initialization_Sequence(SDRAM_HandleTypeDef *hsdram, FMC_SDRAM_CommandTypeDef *Command)
{
  __IO uint32_t tmpmrd =0;
  /* Step 3:  Configure a clock configuration enable command */
  Command->CommandMode       = FMC_SDRAM_CMD_CLK_ENABLE;
  Command->CommandTarget     = FMC_SDRAM_CMD_TARGET_BANK2;
  Command->AutoRefreshNumber   = 1;
  Command->ModeRegisterDefinition = 0;

  /* Send the command */
  HAL_SDRAM_SendCommand(hsdram, Command, 0x1000);

  /* Step 4: Insert 100 ms delay */
  HAL_Delay(100);

  /* Step 5: Configure a PALL (precharge all) command */
  Command->CommandMode       = FMC_SDRAM_CMD_PALL;
  Command->CommandTarget       = FMC_SDRAM_CMD_TARGET_BANK2;
  Command->AutoRefreshNumber   = 1;
  Command->ModeRegisterDefinition = 0;

  /* Send the command */
  HAL_SDRAM_SendCommand(hsdram, Command, 0x1000);

  /* Step 6 : Configure a Auto-Refresh command */
  Command->CommandMode       = FMC_SDRAM_CMD_AUTOREFRESH_MODE;
  Command->CommandTarget     = FMC_SDRAM_CMD_TARGET_BANK2;
  Command->AutoRefreshNumber   = 4;
  Command->ModeRegisterDefinition = 0;

  /* Send the command */
  HAL_SDRAM_SendCommand(hsdram, Command, 0x1000);

  /* Step 7: Program the external memory mode register */
  tmpmrd = (uint32_t)SDRAM_MODEREG_BURST_LENGTH_2          |
                     SDRAM_MODEREG_BURST_TYPE_SEQUENTIAL   |
                     SDRAM_MODEREG_CAS_LATENCY_3           |
                     SDRAM_MODEREG_OPERATING_MODE_STANDARD |
                     SDRAM_MODEREG_WRITEBURST_MODE_SINGLE;

  Command->CommandMode = FMC_SDRAM_CMD_LOAD_MODE;
  Command->CommandTarget     = FMC_SDRAM_CMD_TARGET_BANK2;
  Command->AutoRefreshNumber   = 1;
  Command->ModeRegisterDefinition = tmpmrd;

  /* Send the command */
  HAL_SDRAM_SendCommand(hsdram, Command, 0x1000);

  /* Step 8: Set the refresh rate counter */
  /* (15.62 us x Freq) - 20 */
  /* Set the device refresh counter */
  HAL_SDRAM_ProgramRefreshRate(hsdram, REFRESH_COUNT);
}

/**
  * @brief  Fills buffer with user predefined data.
  * @param  pBuffer: pointer on the buffer to fill
  * @param  uwBufferLenght: size of the buffer to fill
  * @param  uwOffset: first value to fill on the buffer
  * @retval None
  */
static void Fill_Buffer(uint32_t *pBuffer, uint32_t uwBufferLenght, uint32_t uwOffset)
{
  uint32_t tmpIndex = 0;

  /* Put in global buffer different values */
  for (tmpIndex = 0; tmpIndex < uwBufferLenght; tmpIndex++ )
  {
    pBuffer[tmpIndex] = tmpIndex + uwOffset;
  }
}
/* USER CODE END 4 */

void Error_Handler(void)
{
  __disable_irq();
  while (1)
  {
  }
}
